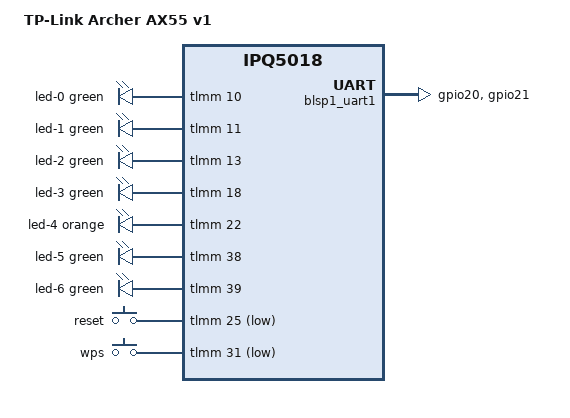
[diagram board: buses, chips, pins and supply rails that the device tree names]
// SPDX-License-Identifier: GPL-2.0+ OR BSD-3-Clause

/dts-v1/;

#include <dt-bindings/gpio/gpio.h>
#include <dt-bindings/input/input.h>
#include <dt-bindings/leds/common.h>

#include "ipq5018.dtsi"

/ {
	model = "TP-Link Archer AX55 v1";
	compatible = "tplink,archer-ax55-v1", "qcom,ipq5018";

	aliases {
		serial0 = &blsp1_uart1;
	};

	chosen {
		stdout-path = "serial0:115200n8";
	};

	leds {
		compatible = "gpio-leds";
		pinctrl-0 = <&led_pins>;
		pinctrl-names = "default";

		led-0 {
			color = <LED_COLOR_ID_GREEN>;
			function = LED_FUNCTION_LAN;
			gpios = <&tlmm 10 GPIO_ACTIVE_HIGH>;
		};

		led-1 {
			color = <LED_COLOR_ID_GREEN>;
			function = LED_FUNCTION_WAN_ONLINE;
			gpios = <&tlmm 11 GPIO_ACTIVE_HIGH>;
		};

		led-2 {
			color = <LED_COLOR_ID_GREEN>;
			function = LED_FUNCTION_WLAN_2GHZ;
			gpios = <&tlmm 13 GPIO_ACTIVE_HIGH>;
		};

		led-3 {
			color = <LED_COLOR_ID_GREEN>;
			function = LED_FUNCTION_POWER;
			gpios = <&tlmm 18 GPIO_ACTIVE_HIGH>;
		};

		led-4 {
			color = <LED_COLOR_ID_ORANGE>;
			function = LED_FUNCTION_WAN;
			gpios = <&tlmm 22 GPIO_ACTIVE_HIGH>;
		};

		led-5 {
			color = <LED_COLOR_ID_GREEN>;
			function = LED_FUNCTION_USB;
			gpios = <&tlmm 38 GPIO_ACTIVE_HIGH>;
		};

		led-6 {
			color = <LED_COLOR_ID_GREEN>;
			function = LED_FUNCTION_WLAN_5GHZ;
			gpios = <&tlmm 39 GPIO_ACTIVE_HIGH>;
		};
	};

	buttons {
		compatible = "gpio-keys";
		pinctrl-0 = <&button_pins>;
		pinctrl-names = "default";

		button-reset {
			debounce-interval = <60>;
			gpios = <&tlmm 25 GPIO_ACTIVE_LOW>;
			label = "reset";
			linux,code = <KEY_RESTART>;
		};

		button-wps {
			debounce-interval = <60>;
			gpios = <&tlmm 31 GPIO_ACTIVE_LOW>;
			label = "wps";
			linux,code = <KEY_WPS_BUTTON>;
		};
	};
};

&blsp1_uart1 {
	pinctrl-0 = <&uart_pins>;
	pinctrl-names = "default";
	status = "okay";
};

&sleep_clk {
	clock-frequency = <32000>;
};

&tlmm {
	button_pins: button-pins-state {
		pins = "gpio25", "gpio31";
		function = "gpio";
		drive-strength = <8>;
		bias-pull-up;
	};

	led_pins: led-pins-state {
		pins = "gpio10", "gpio11", "gpio13", "gpio18", "gpio22",
		       "gpio38", "gpio39";
		function = "gpio";
		drive-strength = <2>;
		bias-disable;
	};

	uart_pins: uart-pins-state {
		pins = "gpio20", "gpio21";
		function = "blsp0_uart0";
		drive-strength = <8>;
		bias-disable;
	};
};

&xo_board_clk {
	clock-frequency = <24000000>;
};
